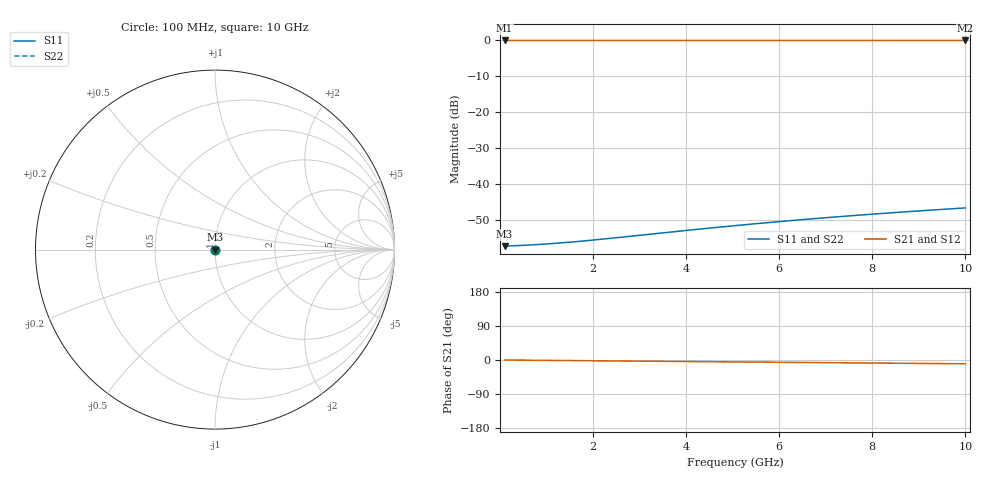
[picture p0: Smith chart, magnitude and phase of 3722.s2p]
# Hz S RI R 50.00
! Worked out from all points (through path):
!   100 points, 100 MHz to 10 GHz, reference 50 ohm
!   highest |S21| = -0.01 dB at 100 MHz (marker M1); lowest = 0.0 dB at 10 GHz (marker M2)
!   group delay of S21, straight-line fit = 2.79 ps
!   lowest |S11| = -57.2 dB at 100 MHz (marker M3), VSWR 1.00, Z = 50.1 - j0.00461 ohm
!   |S11| at or under -10 dB: start of sweep to end of sweep
!   |S22| runs from -57.2 to -46.6 dB; largest |S21 - S12| = 0
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1e8  0.00137 -4.6e-05  0.9986 -0.00174  0.9986 -0.00174  0.00137 -4.6e-05
6e8  0.0014 -0.000276  0.9985 -0.0105  0.9985 -0.0105  0.0014 -0.000276
8e8  0.0014 -0.000368  0.9985 -0.014  0.9985 -0.014  0.0014 -0.000368
1e9  0.0014 -0.00046  0.9984 -0.0174  0.9984 -0.0174  0.0014 -0.00046
1.2e9  0.0014 -0.000553  0.9983 -0.0209  0.9983 -0.0209  0.0014 -0.000553
1.4e9  0.0014 -0.000645  0.9983 -0.0244  0.9983 -0.0244  0.0014 -0.000645
1.8e9  0.0014 -0.00083  0.9981 -0.0314  0.9981 -0.0314  0.0014 -0.00083
2.1e9  0.00139 -0.000969  0.9979 -0.0366  0.9979 -0.0366  0.00139 -0.000969
2.4e9  0.00138 -0.00111  0.9977 -0.0419  0.9977 -0.0419  0.00138 -0.00111
3.4e9  0.00135 -0.00157  0.9967 -0.0593  0.9967 -0.0593  0.00135 -0.00157
4.3e9  0.0013 -0.00199  0.9957 -0.075  0.9957 -0.075  0.0013 -0.00199
4.7e9  0.00127 -0.00217  0.9951 -0.0819  0.9951 -0.0819  0.00127 -0.00217
5.1e9  0.00124 -0.00236  0.9945 -0.0889  0.9945 -0.0889  0.00124 -0.00236
5.5e9  0.00121 -0.00255  0.9938 -0.0958  0.9938 -0.0958  0.00121 -0.00255
5.9e9  0.00118 -0.00273  0.9931 -0.1028  0.9931 -0.1028  0.00118 -0.00273
6.3e9  0.00114 -0.00292  0.9924 -0.1098  0.9924 -0.1098  0.00114 -0.00292
6.7e9  0.0011 -0.0031  0.9916 -0.1167  0.9916 -0.1167  0.0011 -0.0031
7.5e9  0.00102 -0.00347  0.9898 -0.1306  0.9898 -0.1306  0.00102 -0.00347
7.9e9  0.000972 -0.00366  0.9889 -0.1375  0.9889 -0.1375  0.000972 -0.00366
8.4e9  0.00091 -0.00389  0.9876 -0.1462  0.9876 -0.1462  0.00091 -0.00389
9.2e9  0.000803 -0.00426  0.9854 -0.16  0.9854 -0.16  0.000803 -0.00426
1e10  0.000685 -0.00462  0.9831 -0.1738  0.9831 -0.1738  0.000685 -0.00462
